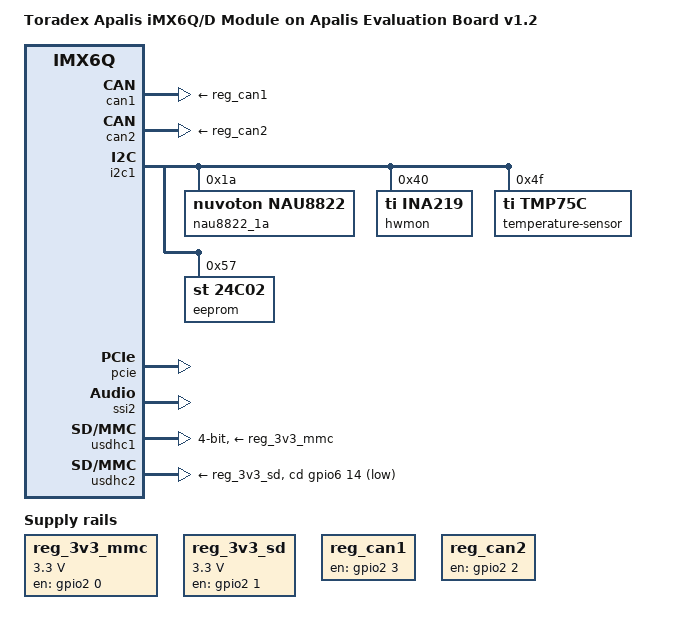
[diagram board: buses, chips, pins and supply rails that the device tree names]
// SPDX-License-Identifier: GPL-2.0-or-later OR MIT
/*
 * Copyright 2024 Toradex
 */

/dts-v1/;

#include "imx6q-apalis-eval.dtsi"

/ {
	model = "Toradex Apalis iMX6Q/D Module on Apalis Evaluation Board v1.2";
	compatible = "toradex,apalis_imx6q-eval-v1.2", "toradex,apalis_imx6q",
		     "fsl,imx6q";

	reg_3v3_mmc: regulator-3v3-mmc {
		compatible = "regulator-fixed";
		enable-active-high;
		gpio = <&gpio2 0 GPIO_ACTIVE_HIGH>;
		off-on-delay-us = <100000>;
		pinctrl-names = "default";
		pinctrl-0 = <&pinctrl_enable_3v3_mmc>;
		regulator-max-microvolt = <3300000>;
		regulator-min-microvolt = <3300000>;
		regulator-name = "3.3V_MMC";
		startup-delay-us = <10000>;
	};

	reg_3v3_sd: regulator-3v3-sd {
		compatible = "regulator-fixed";
		enable-active-high;
		gpio = <&gpio2 1 GPIO_ACTIVE_HIGH>;
		off-on-delay-us = <100000>;
		pinctrl-names = "default";
		pinctrl-0 = <&pinctrl_enable_3v3_sd>;
		regulator-max-microvolt = <3300000>;
		regulator-min-microvolt = <3300000>;
		regulator-name = "3.3V_SD";
		startup-delay-us = <10000>;
	};

	reg_can1: regulator-can1 {
		compatible = "regulator-fixed";
		enable-active-high;
		gpio = <&gpio2 3 GPIO_ACTIVE_HIGH>;
		pinctrl-names = "default";
		pinctrl-0 = <&pinctrl_enable_can1_power>;
		regulator-name = "5V_SW_CAN1";
		startup-delay-us = <10000>;
	};

	reg_can2: regulator-can2 {
		compatible = "regulator-fixed";
		enable-active-high;
		gpio = <&gpio2 2 GPIO_ACTIVE_HIGH>;
		pinctrl-names = "default";
		pinctrl-0 = <&pinctrl_enable_can2_power>;
		regulator-name = "5V_SW_CAN2";
		startup-delay-us = <10000>;
	};

	sound-carrier {
		compatible = "simple-audio-card";
		simple-audio-card,bitclock-master = <&codec_dai>;
		simple-audio-card,format = "i2s";
		simple-audio-card,frame-master = <&codec_dai>;
		simple-audio-card,name = "apalis-nau8822";
		simple-audio-card,routing =
			"Headphones", "LHP",
			"Headphones", "RHP",
			"Speaker", "LSPK",
			"Speaker", "RSPK",
			"Line Out", "AUXOUT1",
			"Line Out", "AUXOUT2",
			"LAUX", "Line In",
			"RAUX", "Line In",
			"LMICP", "Mic In",
			"RMICP", "Mic In";
		simple-audio-card,widgets =
			"Headphones", "Headphones",
			"Line Out", "Line Out",
			"Speaker", "Speaker",
			"Microphone", "Mic In",
			"Line", "Line In";

		codec_dai: simple-audio-card,codec {
			sound-dai = <&nau8822_1a>;
			system-clock-frequency = <12288000>;
		};

		simple-audio-card,cpu {
			sound-dai = <&ssi2>;
		};
	};
};

&can1 {
	xceiver-supply = <&reg_can1>;
	status = "okay";
};

&can2 {
	xceiver-supply = <&reg_can2>;
	status = "okay";
};

/* I2C1_SDA/SCL on MXM3 209/211 */
&i2c1 {
	/* Audio Codec */
	nau8822_1a: audio-codec@1a {
		compatible = "nuvoton,nau8822";
		reg = <0x1a>;
		pinctrl-names = "default";
		pinctrl-0 = <&pinctrl_nau8822>;
		#sound-dai-cells = <0>;
	};

	/* Current measurement into module VCC */
	hwmon@40 {
		compatible = "ti,ina219";
		reg = <0x40>;
		shunt-resistor = <5000>;
	};

	/* Temperature Sensor */
	temperature-sensor@4f {
		compatible = "ti,tmp75c";
		reg = <0x4f>;
	};

	/* EEPROM */
	eeprom@57 {
		compatible = "st,24c02", "atmel,24c02";
		reg = <0x57>;
		pagesize = <16>;
		size = <256>;
	};
};

&pcie {
	status = "okay";
};

&ssi2 {
	status = "okay";
};

/* MMC1 */
&usdhc1 {
	bus-width = <4>;
	pinctrl-0 = <&pinctrl_usdhc1_4bit &pinctrl_mmc_cd>;
	vmmc-supply = <&reg_3v3_mmc>;
	status = "okay";
};

/* SD1 */
&usdhc2 {
	cd-gpios = <&gpio6 14 GPIO_ACTIVE_LOW>;
	pinctrl-0 = <&pinctrl_usdhc2 &pinctrl_sd_cd>;
	vmmc-supply = <&reg_3v3_sd>;
	status = "okay";
};

&iomuxc {
	pinctrl_enable_3v3_mmc: enable3v3mmcgrp {
		fsl,pins = <
			/* MMC1_PWR_CTRL */
			MX6QDL_PAD_NANDF_D0__GPIO2_IO00 0x1b0b0
		>;
	};

	pinctrl_enable_3v3_sd: enable3v3sdgrp {
		fsl,pins = <
			/* SD1_PWR_CTRL */
			MX6QDL_PAD_NANDF_D1__GPIO2_IO01 0x1b0b0
		>;
	};

	pinctrl_enable_can1_power: enablecan1powergrp {
		fsl,pins = <
			/* CAN1_PWR_EN */
			MX6QDL_PAD_NANDF_D3__GPIO2_IO03 0x1b0b0
		>;
	};

	pinctrl_enable_can2_power: enablecan2powergrp {
		fsl,pins = <
			/* CAN2_PWR_EN */
			MX6QDL_PAD_NANDF_D2__GPIO2_IO02 0x1b0b0
		>;
	};

	pinctrl_nau8822: nau8822grp {
		fsl,pins = <
			MX6QDL_PAD_DISP0_DAT16__AUD5_TXC	0x130b0
			MX6QDL_PAD_DISP0_DAT17__AUD5_TXD	0x130b0
			MX6QDL_PAD_DISP0_DAT18__AUD5_TXFS	0x130b0
			MX6QDL_PAD_DISP0_DAT19__AUD5_RXD	0x130b0
		>;
	};
};
